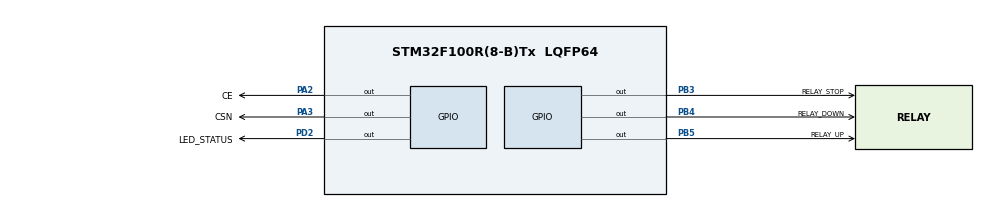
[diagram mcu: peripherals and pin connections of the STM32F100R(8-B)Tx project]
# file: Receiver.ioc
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Mcu.Family=STM32F1
Mcu.Name=STM32F100R(8-B)Tx
Mcu.Package=LQFP64
NVIC.PriorityGroup=NVIC_PRIORITYGROUP_4
PA13.Mode=Serial_Wire
PA13.Signal=SYS_JTMS-SWDIO
PA14.Mode=Serial_Wire
PA14.Signal=SYS_JTCK-SWCLK
PA2.GPIO_Label=CE
PA2.Signal=GPIO_Output
PA3.GPIO_Label=CSN
PA3.Signal=GPIO_Output
PB5.GPIO_Label=RELAY_UP
PB5.Signal=GPIO_Output
PB3.GPIO_Label=RELAY_STOP
PB3.Signal=GPIO_Output
PB4.GPIO_Label=RELAY_DOWN
PB4.Signal=GPIO_Output
PD0-OSC_IN.Mode=HSE-External-Oscillator
PD0-OSC_IN.Signal=RCC_OSC_IN
PD1-OSC_OUT.Mode=HSE-External-Oscillator
PD1-OSC_OUT.Signal=RCC_OSC_OUT
PD2.GPIO_Label=LED_STATUS
PD2.Signal=GPIO_Output
ProjectManager.HeapSize=0x200
ProjectManager.StackSize=0x400
ProjectManager.TargetToolchain=STM32CubeIDE
RCC.APB1Freq_Value=8000000
RCC.APB2Freq_Value=8000000
board=custom

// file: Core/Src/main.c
/* USER CODE BEGIN Header */
/**
  ******************************************************************************
  * @file           : main.c
  * @brief          : گیرنده Remoot - کنترل رله‌های پارکینگ
  ******************************************************************************
  * @attention
  *
  * Copyright (c) 2026 STMicroelectronics.
  * All rights reserved.
  *
  ******************************************************************************
  */
/* USER CODE END Header */

#include "main.h"
#include "nRF24l01.h"

#define CMD_NONE  0x00
#define CMD_UP    0x01
#define CMD_DOWN  0x02

/* STOP فقط یک وضعیت داخلی گیرنده است و روی هوا ارسال نمی‌شود؛
   گیرنده خودش با تشخیص تغییر جهت، آن را می‌سازد */
#define CMD_STOP  0x03

#define LINK_TIMEOUT_MS  400
#define RELAY_GUARD_MS   50
/* مکث اجباری بین خاموش شدن یک جهت و روشن شدن «جهت مخالف» — حفاظت از موتور
   کرکره در برابر معکوس‌شدن ناگهانی (پلاگینگ). فقط جهت مخالف را محدود می‌کند؛
   روشن شدنِ دوبارهٔ همان جهت فقط RELAY_GUARD_MS صبر دارد. */
#define RELAY_REVERSE_MS 500
#define LED_BLINK_MS     250

/* بازیابی ماژول فقط در صورت قطع بودن پیوند (بی‌پکت بودن به مدت ۵ ثانیه) */
#define RECOVER_INTERVAL_MS  5000
/* Flush FIFO فقط هنگام قطع پیوند */
#define FLUSH_INTERVAL_MS    1000

/* LED: سطح بالا = روشن */
#define LED_ON()   HAL_GPIO_WritePin(LED_STATUS_GPIO_Port, LED_STATUS_Pin, GPIO_PIN_SET)
#define LED_OFF()  HAL_GPIO_WritePin(LED_STATUS_GPIO_Port, LED_STATUS_Pin, GPIO_PIN_RESET)

/* علائم شناخت پکت */
#define PKT_MAGIC0 0x52  /* 'R' */
#define PKT_MAGIC1 0x4D  /* 'M' */
#define PKT_MAGIC2 0x54  /* 'T' */

uint8_t  rxBuf[8];

uint8_t  rxCmd      = CMD_NONE;
/* وضعیت فعلی رله‌ها: NONE / UP / DOWN / STOP (ماشین وضعیت) */
uint8_t  relayState = CMD_NONE;
uint32_t lastRxTime = 0;
uint32_t guardUntil = 0;
/* آخرین جهتِ وصل‌شده و لحظهٔ قطع آن — برای قفل معکوس RELAY_REVERSE_MS */
uint8_t  lastDir  = CMD_NONE;
uint32_t dirOffAt = 0;

uint8_t  linkUp     = 0;
uint32_t blinkAt    = 0;
uint8_t  blinkOn    = 0;

/* بازیابی ماژول و Flush FIFO — فقط هنگام قطع پیوند */
uint32_t lastRecover = 0;
uint32_t lastFlush   = 0;

void SystemClock_Config(void);
static void MX_GPIO_Init(void);
void Relays_Off(void);
uint8_t Next_State(uint8_t state, uint8_t cmd);
void Apply_Command(uint8_t cmd);
uint8_t Packet_Valid(uint8_t *buf);
void Rx_Recover(void);
void Rx_Periodic(uint32_t now);

int main(void)
{
  HAL_Init();
  SystemClock_Config();
  MX_GPIO_Init();

  nRF_Init_Pin();
  nRF_Init();
  nRF_SetRX();
  Relays_Off();

  lastRxTime  = HAL_GetTick();
  lastRecover = HAL_GetTick();
  lastFlush   = HAL_GetTick();

  while (1)
  {
    uint32_t now = HAL_GetTick();

    /* خواندن تمام پکت‌های موجود در FIFO */
    for (uint8_t i = 0; i < 4; i++)
    {
      if (!nRF_GetPacket(rxBuf)) break;
      if (Packet_Valid(rxBuf))
      {
        rxCmd      = rxBuf[0];
        lastRxTime = now;
        linkUp     = 1;
      }
    }

    /* ایمنی: اگر پیوند قطع شد، فرمان لغو و رله‌ها خاموش */
    if ((rxCmd == CMD_UP || rxCmd == CMD_DOWN) && ((now - lastRxTime) > LINK_TIMEOUT_MS))
    {
      rxCmd = CMD_NONE;
    }

    /* اعمال فرمان با ماشین وضعیت STOP و رعایت زمان مرده
       - خاموش شدن هر رله‌ای همیشه فوری است
       - روشن شدن، از guardUntil به بعد مجاز است (RELAY_GUARD_MS)
       - روشن شدنِ جهتِ مخالفِ آخرین جهتِ وصل‌شده تا پایان RELAY_REVERSE_MS
         ممنوع است تا موتورِ در حال چرخش، ناگهان معکوس نشود */
    uint8_t nextState = Next_State(relayState, rxCmd);
    if (nextState != relayState)
    {
      uint8_t nextIsDir  = (nextState  == CMD_UP) || (nextState  == CMD_DOWN);
      uint8_t relayIsDir = (relayState == CMD_UP) || (relayState == CMD_DOWN);
      uint8_t allowed;

      if (nextState == CMD_NONE)
      {
        allowed = 1;    /* خاموش‌شدن فوری (فشردنِ رها شده / قطع پیوند) */
      }
      else
      {
        allowed = ((int32_t)(now - guardUntil) >= 0);

        /* قفل معکوس: جهتِ مخالف باید صبر کند — STOP مستثنی است چون باید فوری وصل شود */
        if (allowed && nextIsDir &&
            (lastDir != CMD_NONE) && (lastDir != nextState) &&
            ((int32_t)(now - dirOffAt) < RELAY_REVERSE_MS))
        {
          allowed = 0;
        }
      }

      if (allowed)
      {
        /* لحظهٔ قطعِ آخرین جهت را ثبت کن تا مکث معکوس از همان لحظه شمرده شود */
        if (relayIsDir && !nextIsDir) dirOffAt = now;
        if (nextIsDir)                lastDir  = nextState;

        Apply_Command(nextState);
        relayState = nextState;
        guardUntil = now + RELAY_GUARD_MS;
      }
    }

    /* بازیابی ماژول / Flush — فقط هنگام قطع پیوند */
    Rx_Periodic(now);

    /* LED وضعیت */
    if (linkUp && ((now - lastRxTime) <= LINK_TIMEOUT_MS))
    {
      LED_ON();
      blinkAt = now;
    }
    else if ((now - blinkAt) >= LED_BLINK_MS)
    {
      blinkAt  = now;
      blinkOn ^= 1;
      if (blinkOn) LED_ON(); else LED_OFF();
    }

    HAL_Delay(5);
  }
}

void SystemClock_Config(void)
{
  RCC_OscInitTypeDef RCC_OscInitStruct = {0};
  RCC_ClkInitTypeDef RCC_ClkInitStruct = {0};

  RCC_OscInitStruct.OscillatorType = RCC_OSCILLATORTYPE_HSI;
  RCC_OscInitStruct.HSIState = RCC_HSI_ON;
  RCC_OscInitStruct.HSICalibrationValue = RCC_HSICALIBRATION_DEFAULT;
  RCC_OscInitStruct.PLL.PLLState = RCC_PLL_NONE;
  if (HAL_RCC_OscConfig(&RCC_OscInitStruct) != HAL_OK) Error_Handler();

  RCC_ClkInitStruct.ClockType = RCC_CLOCKTYPE_HCLK|RCC_CLOCKTYPE_SYSCLK
                              |RCC_CLOCKTYPE_PCLK1|RCC_CLOCKTYPE_PCLK2;
  RCC_ClkInitStruct.SYSCLKSource = RCC_SYSCLKSOURCE_HSI;
  RCC_ClkInitStruct.AHBCLKDivider = RCC_SYSCLK_DIV1;
  RCC_ClkInitStruct.APB1CLKDivider = RCC_HCLK_DIV1;
  RCC_ClkInitStruct.APB2CLKDivider = RCC_HCLK_DIV1;

  if (HAL_RCC_ClockConfig(&RCC_ClkInitStruct, FLASH_LATENCY_0) != HAL_OK) Error_Handler();
}

static void MX_GPIO_Init(void)
{
  GPIO_InitTypeDef GPIO_InitStruct = {0};

  __HAL_RCC_GPIOA_CLK_ENABLE();
  __HAL_RCC_GPIOB_CLK_ENABLE();
  __HAL_RCC_GPIOD_CLK_ENABLE();

  /* LED status on PD2 */
  HAL_GPIO_WritePin(LED_STATUS_GPIO_Port, LED_STATUS_Pin, GPIO_PIN_RESET);
  GPIO_InitStruct.Pin = LED_STATUS_Pin;
  GPIO_InitStruct.Mode = GPIO_MODE_OUTPUT_PP;
  GPIO_InitStruct.Pull = GPIO_NOPULL;
  GPIO_InitStruct.Speed = GPIO_SPEED_FREQ_LOW;
  HAL_GPIO_Init(LED_STATUS_GPIO_Port, &GPIO_InitStruct);

  /* CE, CSN on PA2, PA3 */
  HAL_GPIO_WritePin(GPIOA, CE_Pin|CSN_Pin, GPIO_PIN_RESET);
  GPIO_InitStruct.Pin = CE_Pin|CSN_Pin;
  GPIO_InitStruct.Mode = GPIO_MODE_OUTPUT_PP;
  GPIO_InitStruct.Pull = GPIO_NOPULL;
  GPIO_InitStruct.Speed = GPIO_SPEED_FREQ_LOW;
  HAL_GPIO_Init(GPIOA, &GPIO_InitStruct);

  /* Relay pins: UP=PB5, STOP=PB3, DOWN=PB4
     (PB3/PB4 آزاد شده‌اند چون در HAL_MspInit سویچ NOJTAG زده شده است) */
  HAL_GPIO_WritePin(GPIOB, RELAY_UP_Pin|RELAY_DOWN_Pin|RELAY_STOP_Pin, GPIO_PIN_RESET);
  GPIO_InitStruct.Pin = RELAY_UP_Pin|RELAY_DOWN_Pin|RELAY_STOP_Pin;
  GPIO_InitStruct.Mode = GPIO_MODE_OUTPUT_PP;
  GPIO_InitStruct.Pull = GPIO_NOPULL;
  GPIO_InitStruct.Speed = GPIO_SPEED_FREQ_LOW;
  HAL_GPIO_Init(GPIOB, &GPIO_InitStruct);
}

/* USER CODE BEGIN 4 */

/**
  * @brief  خاموش کردن همه رله‌ها
  */
void Relays_Off(void)
{
  HAL_GPIO_WritePin(RELAY_UP_GPIO_Port,   RELAY_UP_Pin,   GPIO_PIN_RESET);
  HAL_GPIO_WritePin(RELAY_DOWN_GPIO_Port, RELAY_DOWN_Pin, GPIO_PIN_RESET);
  HAL_GPIO_WritePin(RELAY_STOP_GPIO_Port, RELAY_STOP_Pin, GPIO_PIN_RESET);
}

/**
  * @brief  ماشین وضعیت رله‌ها: تعیین وضعیت بعدی از وضعیت فعلی و فرمان دریافتی
  * @param state وضعیت فعلی: CMD_NONE / CMD_UP / CMD_DOWN / CMD_STOP
  * @param cmd   فرمان روی هوا: CMD_NONE / CMD_UP / CMD_DOWN
  * @retval وضعیت بعدی
  *
  * قواعد:
  *  - رها کردن دکمه (CMD_NONE)        → همه رله‌ها خاموش (idle)
  *  - از حالت ساکن (NONE)             → مستقیم همان جهت وصل شود
  *  - از حالت در حال حرکت، فرمانِ جهتِ مخالف → اول STOP، نه تغییر جهت
  *  - در حالت STOP                    → تا رها کردن دکمه در STOP می‌مانیم؛
  *                                       فشار بعدی (دومین فرمان) جهت جدید را وصل می‌کند
  */
uint8_t Next_State(uint8_t state, uint8_t cmd)
{
  if (cmd == CMD_NONE)   return CMD_NONE;   /* رها کردن → خاموش */
  if (cmd == state)      return state;      /* بدون تغییر */
  if (state == CMD_NONE) return cmd;        /* از حالت ساکن: مستقیم همان جهت */
  return CMD_STOP;                          /* تغییر جهت در حال حرکت یا ادامهٔ فشار در STOP */
}

/**
  * @brief  اعمال وضعیت روی رله‌ها (فقط یکی روشن است)
  */
void Apply_Command(uint8_t cmd)
{
  Relays_Off();

  if (cmd == CMD_UP)
  {
    HAL_GPIO_WritePin(RELAY_UP_GPIO_Port, RELAY_UP_Pin, GPIO_PIN_SET);
  }
  else if (cmd == CMD_DOWN)
  {
    HAL_GPIO_WritePin(RELAY_DOWN_GPIO_Port, RELAY_DOWN_Pin, GPIO_PIN_SET);
  }
  else if (cmd == CMD_STOP)
  {
    HAL_GPIO_WritePin(RELAY_STOP_GPIO_Port, RELAY_STOP_Pin, GPIO_PIN_SET);
  }
  /* CMD_NONE: همه خاموش */
}

/**
  * @brief  اعتبارسنجی پکت (فقط فرمان‌های NONE/UP/DOWN روی هوا معتبرند؛
  *         CMD_STOP وضعیت داخلی است و از فرستنده نمی‌آید)
  * @retval 1 = معتبر، 0 = نامعتبر
  */
uint8_t Packet_Valid(uint8_t *buf)
{
  if (buf[0] > CMD_DOWN)           return 0;
  if (buf[2] != PKT_MAGIC0)        return 0;
  if (buf[3] != PKT_MAGIC1)        return 0;
  if (buf[4] != PKT_MAGIC2)        return 0;
  if (buf[5] != (uint8_t)(~buf[0])) return 0;
  return 1;
}

/**
  * @brief  بازیابی کامل ماژول nRF (ریست + بازنویسی پیکربندی + ورود به RX)
  *         فقط هنگامی صدا زده می‌شود که پیوند واقعاً قطع است،
  *         بنابراین رله‌های گیت از کار نمی‌افتند.
  */
void Rx_Recover(void)
{
  /* بازیابی کامل: ریست نرم‌افزاری ماژول، سپس بازنویسی همهٔ رجیسترهای
     (کانال، آدرس، طول پلود، سرعت) و در نهایت ورود به حالت گوش‌دادن.
     فقط Power-Cycle کافی نیست: اگر افت ولتاژ (مثلاً هنگام کار موتور گیت)
     رجیسترها را پاک کرده باشد، بدون بازنویسی، گیرنده تا ریست MCU کور می‌ماند. */
  nRF_Recover();
  nRF_Init();      /* پیکربندی کامل — CE را پایین می‌آورد */
  nRF_SetRX();     /* حالت گوش‌دادن + CE بالا */

  /* اگر رله‌ای روشن بود، لحظهٔ قطعش را ثبت می‌کنیم تا قفل معکوس از همان لحظه شمرده شود */
  if ((relayState == CMD_UP) || (relayState == CMD_DOWN)) dirOffAt = HAL_GetTick();

  linkUp     = 0;
  rxCmd      = CMD_NONE;
  relayState = CMD_NONE;
  Relays_Off();
  /* lastRxTime دست‌نخورده می‌ماند تا وضعیت پیوند واقعی بماند */
}

/**
  * @brief  بازیابی دوره‌ای ماژول و Flush FIFO — فقط هنگام قطع پیوند
  * @param  now  زمان فعلی (ms)
  */
void Rx_Periodic(uint32_t now)
{
  uint8_t linkDown = ((now - lastRxTime) > LINK_TIMEOUT_MS);

  /* Flush دوره‌ای FIFO دریافت (پکت معتبر هنگام اتصال سالم دور ریخته نشود) */
  if (linkDown && ((now - lastFlush) >= FLUSH_INTERVAL_MS))
  {
    lastFlush = now;
    nRF_FlushRx();
  }

  /* بازیابی ماژول: فقط اگر بیش از RECOVER_INTERVAL_MS پکت معتبر نرسیده باشد
     و آخرین بازیابی هم قدیمی باشد — نه به‌صورت کور هر ۵ ثانیه */
  if (((now - lastRxTime) >= RECOVER_INTERVAL_MS) &&
      ((now - lastRecover) >= RECOVER_INTERVAL_MS))
  {
    lastRecover = now;
    Rx_Recover();
  }
}

/* USER CODE END 4 */

void Error_Handler(void)
{
  __disable_irq();
  while (1) { }
}
